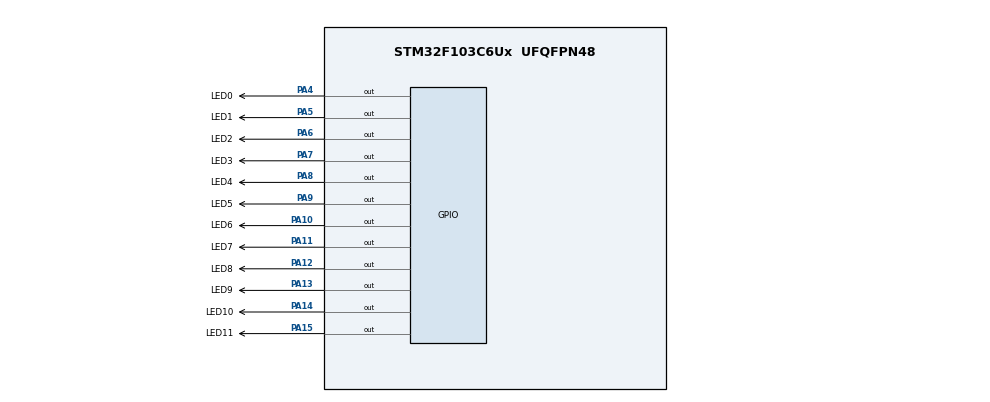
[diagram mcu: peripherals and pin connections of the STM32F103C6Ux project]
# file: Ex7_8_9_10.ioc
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Mcu.Family=STM32F1
Mcu.Name=STM32F103C6Ux
Mcu.Package=UFQFPN48
NVIC.PriorityGroup=NVIC_PRIORITYGROUP_4
PA10.GPIO_Label=LED6
PA10.Signal=GPIO_Output
PA11.GPIO_Label=LED7
PA11.Signal=GPIO_Output
PA12.GPIO_Label=LED8
PA12.Signal=GPIO_Output
PA13.GPIO_Label=LED9
PA13.Signal=GPIO_Output
PA14.GPIO_Label=LED10
PA14.Signal=GPIO_Output
PA15.GPIO_Label=LED11
PA15.Signal=GPIO_Output
PA4.GPIO_Label=LED0
PA4.Signal=GPIO_Output
PA5.GPIO_Label=LED1
PA5.Signal=GPIO_Output
PA6.GPIO_Label=LED2
PA6.Signal=GPIO_Output
PA7.GPIO_Label=LED3
PA7.Signal=GPIO_Output
PA8.GPIO_Label=LED4
PA8.Signal=GPIO_Output
PA9.GPIO_Label=LED5
PA9.Signal=GPIO_Output
ProjectManager.HeapSize=0x200
ProjectManager.StackSize=0x400
ProjectManager.TargetToolchain=STM32CubeIDE
RCC.APB1Freq_Value=8000000
RCC.APB2Freq_Value=8000000
VP_SYS_VS_ND.Mode=No_Debug
board=custom

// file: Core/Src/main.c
/* USER CODE BEGIN Header */
/**
  ******************************************************************************
  * @file           : main.c
  * @brief          : Main program body
  ******************************************************************************
  * @attention
  *
  * <h2><center>&copy; Copyright (c) 2023 STMicroelectronics.
  * All rights reserved.</center></h2>
  *
  * This software component is licensed by ST under BSD 3-Clause license,
  * the "License"; You may not use this file except in compliance with the
  * License. You may obtain a copy of the License at:
  *                        opensource.org/licenses/BSD-3-Clause
  *
  ******************************************************************************
  */
/* USER CODE END Header */
#include "main.h"

void SystemClock_Config(void);
static void MX_GPIO_Init(void);

/* USER CODE BEGIN 0 */
void clearAllClock(void)
{
	HAL_GPIO_WritePin(GPIOA, LED0_Pin|LED1_Pin|LED2_Pin|LED3_Pin
			|LED4_Pin|LED5_Pin|LED6_Pin|LED7_Pin|LED8_Pin
			|LED9_Pin|LED10_Pin|LED11_Pin
			, RESET);
}
void setNumberOnClock(int num)
{
	if (num == 0) HAL_GPIO_WritePin(LED0_GPIO_Port, LED0_Pin, SET);
	if (num == 1) HAL_GPIO_WritePin(LED1_GPIO_Port, LED1_Pin, SET);
	if (num == 2) HAL_GPIO_WritePin(LED2_GPIO_Port, LED2_Pin, SET);
	if (num == 3) HAL_GPIO_WritePin(LED3_GPIO_Port, LED3_Pin, SET);
	if (num == 4) HAL_GPIO_WritePin(LED4_GPIO_Port, LED4_Pin, SET);
	if (num == 5) HAL_GPIO_WritePin(LED5_GPIO_Port, LED5_Pin, SET);
	if (num == 6) HAL_GPIO_WritePin(LED6_GPIO_Port, LED6_Pin, SET);
	if (num == 7) HAL_GPIO_WritePin(LED7_GPIO_Port, LED7_Pin, SET);
	if (num == 8) HAL_GPIO_WritePin(LED8_GPIO_Port, LED8_Pin, SET);
	if (num == 9) HAL_GPIO_WritePin(LED9_GPIO_Port, LED9_Pin, SET);
	if (num == 10) HAL_GPIO_WritePin(LED10_GPIO_Port, LED10_Pin, SET);
	if (num == 11) HAL_GPIO_WritePin(LED11_GPIO_Port, LED11_Pin, SET);
}
void clearNumberOnClock(int num)
{
	if (num == 0) HAL_GPIO_WritePin(LED0_GPIO_Port, LED0_Pin, RESET);
	if (num == 1) HAL_GPIO_WritePin(LED1_GPIO_Port, LED1_Pin, RESET);
	if (num == 2) HAL_GPIO_WritePin(LED2_GPIO_Port, LED2_Pin, RESET);
	if (num == 3) HAL_GPIO_WritePin(LED3_GPIO_Port, LED3_Pin, RESET);
	if (num == 4) HAL_GPIO_WritePin(LED4_GPIO_Port, LED4_Pin, RESET);
	if (num == 5) HAL_GPIO_WritePin(LED5_GPIO_Port, LED5_Pin, RESET);
	if (num == 6) HAL_GPIO_WritePin(LED6_GPIO_Port, LED6_Pin, RESET);
	if (num == 7) HAL_GPIO_WritePin(LED7_GPIO_Port, LED7_Pin, RESET);
	if (num == 8) HAL_GPIO_WritePin(LED8_GPIO_Port, LED8_Pin, RESET);
	if (num == 9) HAL_GPIO_WritePin(LED9_GPIO_Port, LED9_Pin, RESET);
	if (num == 10) HAL_GPIO_WritePin(LED10_GPIO_Port, LED10_Pin, RESET);
	if (num == 11) HAL_GPIO_WritePin(LED11_GPIO_Port, LED11_Pin, RESET);
}
/* USER CODE END 0 */

int main(void)
{

  /* MCU Configuration--------------------------------------------------------*/

  /* Reset of all peripherals, Initializes the Flash interface and the Systick. */
  HAL_Init();

  /* Configure the system clock */
  SystemClock_Config();

  /* Initialize all configured peripherals */
  MX_GPIO_Init();

  /* Infinite loop */
  /* USER CODE BEGIN WHILE */
  int hour = 0;
  int minute = 0;
  int second = 0;
  while (1)
  {
	  if (second == 60)
	  {
		  minute++;
		  second = 0;
	  }
	  if (minute == 60)
	  {
		  hour++;
		  minute = 0;
	  }
	  if (hour == 12)
	  {
		  hour = 0;
	  }
	  clearAllClock();
	  setNumberOnClock(second/5);
	  setNumberOnClock(minute/5);
	  setNumberOnClock(hour);
	  second++;
	  HAL_Delay(1000);
    /* USER CODE END WHILE */

  }
}

void SystemClock_Config(void)
{
  RCC_OscInitTypeDef RCC_OscInitStruct = {0};
  RCC_ClkInitTypeDef RCC_ClkInitStruct = {0};

  /** Initializes the RCC Oscillators according to the specified parameters
  * in the RCC_OscInitTypeDef structure.
  */
  RCC_OscInitStruct.OscillatorType = RCC_OSCILLATORTYPE_HSI;
  RCC_OscInitStruct.HSIState = RCC_HSI_ON;
  RCC_OscInitStruct.HSICalibrationValue = RCC_HSICALIBRATION_DEFAULT;
  RCC_OscInitStruct.PLL.PLLState = RCC_PLL_NONE;
  if (HAL_RCC_OscConfig(&RCC_OscInitStruct) != HAL_OK)
  {
    Error_Handler();
  }
  /** Initializes the CPU, AHB and APB buses clocks
  */
  RCC_ClkInitStruct.ClockType = RCC_CLOCKTYPE_HCLK|RCC_CLOCKTYPE_SYSCLK
                              |RCC_CLOCKTYPE_PCLK1|RCC_CLOCKTYPE_PCLK2;
  RCC_ClkInitStruct.SYSCLKSource = RCC_SYSCLKSOURCE_HSI;
  RCC_ClkInitStruct.AHBCLKDivider = RCC_SYSCLK_DIV1;
  RCC_ClkInitStruct.APB1CLKDivider = RCC_HCLK_DIV1;
  RCC_ClkInitStruct.APB2CLKDivider = RCC_HCLK_DIV1;

  if (HAL_RCC_ClockConfig(&RCC_ClkInitStruct, FLASH_LATENCY_0) != HAL_OK)
  {
    Error_Handler();
  }
}

static void MX_GPIO_Init(void)
{
  GPIO_InitTypeDef GPIO_InitStruct = {0};

  /* GPIO Ports Clock Enable */
  __HAL_RCC_GPIOA_CLK_ENABLE();

  /*Configure GPIO pin Output Level */
  HAL_GPIO_WritePin(GPIOA, LED0_Pin|LED1_Pin|LED2_Pin|LED3_Pin
                          |LED4_Pin|LED5_Pin|LED6_Pin|LED7_Pin
                          |LED8_Pin|LED9_Pin|LED10_Pin|LED11_Pin, GPIO_PIN_RESET);

  /*Configure GPIO pins : LED0_Pin LED1_Pin LED2_Pin LED3_Pin
                           LED4_Pin LED5_Pin LED6_Pin LED7_Pin
                           LED8_Pin LED9_Pin LED10_Pin LED11_Pin */
  GPIO_InitStruct.Pin = LED0_Pin|LED1_Pin|LED2_Pin|LED3_Pin
                          |LED4_Pin|LED5_Pin|LED6_Pin|LED7_Pin
                          |LED8_Pin|LED9_Pin|LED10_Pin|LED11_Pin;
  GPIO_InitStruct.Mode = GPIO_MODE_OUTPUT_PP;
  GPIO_InitStruct.Pull = GPIO_NOPULL;
  GPIO_InitStruct.Speed = GPIO_SPEED_FREQ_LOW;
  HAL_GPIO_Init(GPIOA, &GPIO_InitStruct);

}

void Error_Handler(void)
{
  __disable_irq();
  while (1)
  {
  }
}

/************************ (C) COPYRIGHT STMicroelectronics *****END OF FILE****/
